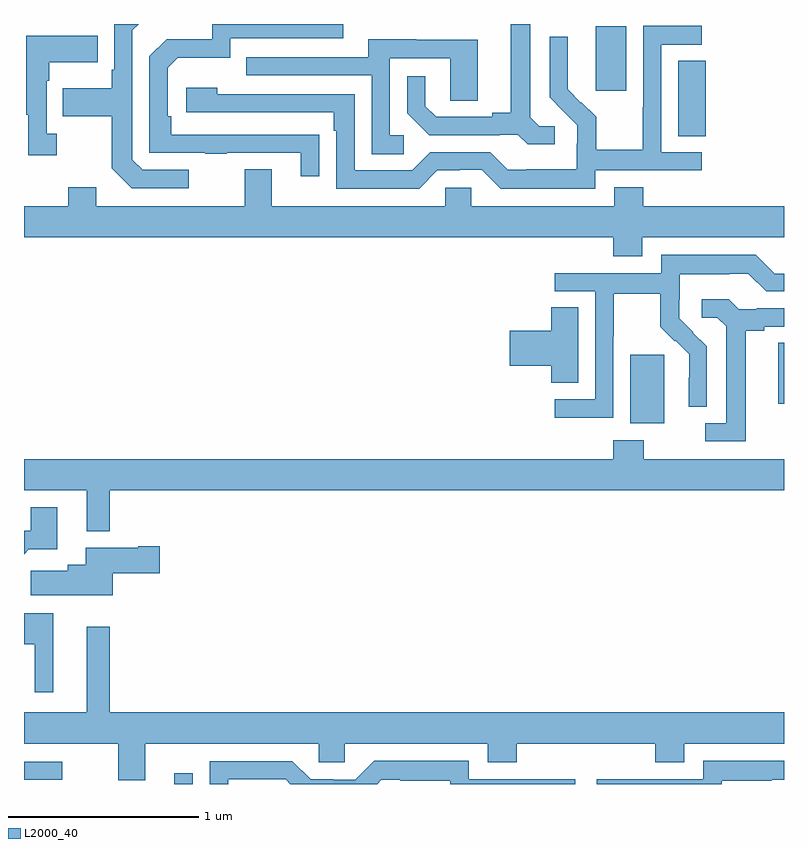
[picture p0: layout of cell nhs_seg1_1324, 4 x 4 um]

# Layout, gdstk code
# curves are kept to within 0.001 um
import gdstk
lib = gdstk.Library(unit=1e-6, precision=1e-09)
def R(c, l, rs):  # rectangles x0, y0, x1, y1
    for r in rs: c.add(gdstk.rectangle(r[:2], r[2:], *l))
def P(c, l, *ps):  # polygons
    for p in ps: c.add(gdstk.Polygon(p, *l))
L2000_40 = (2000, 40)

nhs_seg1_1324 = lib.new_cell('nhs_seg1_1324')
R(nhs_seg1_1324, L2000_40, [(183.791,538.199,183.887,538.255), (183,538.221,183.202,538.317), (186.191,540.098,186.37,540.459), (186.971,540.201,187,540.521), (186.443,541.609,186.587,542.006), (186.008,541.848,186.169,542.188)])
P(nhs_seg1_1324, L2000_40, [(185.794,541.662),(185.712,541.662),(185.665,541.709),(185.665,542.199),(185.561,542.199),(185.561,541.733),(185.465,541.733),(185.465,541.71),(185.17,541.71),(185.113,541.767),(185.113,541.924),(185.016,541.924),(185.016,541.73),(185.132,541.614),(185.504,541.614),(185.504,541.617),(185.598,541.617),(185.65,541.565),(185.794,541.565)],
  [(183.868,541.431),(183.624,541.431),(183.57,541.485),(183.57,542.166),(183.603,542.199),(183.474,542.199),(183.474,541.957),(183.462,541.957),(183.462,541.861),(183.205,541.861),(183.205,541.714),(183.462,541.714),(183.462,541.441),(183.567,541.335),(183.868,541.335)],
  [(184.553,541.616),(183.776,541.617),(183.776,541.714),(183.756,541.714),(183.756,541.968),(183.809,542.021),(184.086,542.021),(184.086,542.124),(184.681,542.124),(184.681,542.199),(183.99,542.199),(183.99,542.118),(183.75,542.118),(183.66,542.028),(183.66,541.521),(183.955,541.521),(183.955,541.516),(184.067,541.516),(184.067,541.521),(184.457,541.521),(184.457,541.398),(184.553,541.398)],
  [(186.006,541.428),(186.568,541.428),(186.568,541.524),(186.354,541.524),(186.354,542.091),(186.568,542.091),(186.568,542.19),(186.258,542.19),(186.258,541.76),(186.256,541.76),(186.256,541.537),(186.011,541.537),(186.011,541.711),(185.934,541.788),(185.931,541.785),(185.861,541.856),(185.861,541.96),(185.863,541.96),(185.863,542.132),(185.766,542.132),(185.766,541.814),(185.912,541.666),(185.912,541.569),(185.91,541.569),(185.91,541.435),(185.647,541.435),(185.647,541.431),(185.547,541.431),(185.454,541.524),(185.139,541.524),(185.043,541.428),(184.74,541.428),(184.74,541.83),(184.016,541.83),(184.016,541.864),(183.855,541.864),(183.855,541.734),(184.631,541.734),(184.631,541.637),(184.644,541.637),(184.644,541.332),(185.079,541.332),(185.175,541.428),(185.294,541.428),(185.294,541.431),(185.409,541.431),(185.509,541.331),(186.006,541.331)],
  [(183.172,541.622),(183.12,541.622),(183.12,541.901),(183.133,541.901),(183.133,541.997),(183.389,541.997),(183.389,542.137),(183.012,542.137),(183.012,541.721),(183.023,541.721),(183.023,541.509),(183.172,541.509)],
  [(184.999,541.614),(184.926,541.614),(184.926,542.019),(185.244,542.019),(185.244,541.795),(185.389,541.795),(185.389,542.115),(185.065,542.115),(185.065,542.119),(184.811,542.119),(184.811,542.025),(184.171,542.025),(184.171,541.929),(184.83,541.929),(184.83,541.513),(184.999,541.513)],
  [(186.253,541.076),(187,541.076),(187,541.24),(186.26,541.24),(186.26,541.339),(186.107,541.339),(186.107,541.24),(185.355,541.24),(185.355,541.338),(185.217,541.338),(185.217,541.24),(184.303,541.24),(184.303,541.435),(184.163,541.435),(184.163,541.24),(183.379,541.24),(183.379,541.339),(183.232,541.339),(183.232,541.24),(183,541.24),(183,541.076),(186.101,541.076),(186.101,540.977),(186.253,540.977)],
  [(186.102,540.556),(186.105,540.556),(186.105,540.78),(186.349,540.78),(186.349,540.605),(186.426,540.528),(186.429,540.531),(186.5,540.461),(186.5,540.338),(186.498,540.338),(186.498,540.184),(186.594,540.184),(186.594,540.502),(186.448,540.65),(186.448,540.747),(186.45,540.747),(186.45,540.881),(186.713,540.881),(186.713,540.885),(186.813,540.885),(186.906,540.792),(187,540.792),(187,540.885),(186.951,540.885),(186.851,540.985),(186.354,540.985),(186.354,540.888),(185.793,540.888),(185.793,540.792),(186.006,540.792),(186.006,540.225),(185.793,540.225),(185.793,540.127),(186.102,540.127)],
  [(186.799,540.584),(186.895,540.584),(186.895,540.606),(187,540.606),(187,540.702),(186.856,540.702),(186.856,540.699),(186.762,540.699),(186.71,540.751),(186.567,540.751),(186.567,540.654),(186.648,540.654),(186.695,540.607),(186.695,540.099),(186.585,540.099),(186.585,540.003),(186.799,540.003)],
  [(185.917,540.707),(185.774,540.707),(185.774,540.584),(185.556,540.584),(185.556,540.401),(185.774,540.401),(185.774,540.31),(185.917,540.31)],
  [(183.451,539.744),(187,539.744),(187,539.908),(186.261,539.908),(186.261,540.007),(186.101,540.007),(186.101,539.908),(183,539.908),(183,539.744),(183.329,539.744),(183.329,539.528),(183.451,539.528)],
  [(183.026,539.435),(183.175,539.435),(183.175,539.656),(183.035,539.656),(183.035,539.533),(183,539.533),(183,539.409)],
  [(183.466,539.309),(183.715,539.309),(183.715,539.451),(183.602,539.451),(183.602,539.443),(183.326,539.443),(183.326,539.353),(183.23,539.353),(183.23,539.321),(183.036,539.321),(183.036,539.192),(183.466,539.192)],
  [(183.154,539.098),(183,539.098),(183,538.934),(183.056,538.934),(183.056,538.683),(183.154,538.683)],
  [(183.637,538.412),(184.551,538.412),(184.551,538.314),(184.689,538.314),(184.689,538.412),(185.441,538.412),(185.441,538.313),(185.594,538.313),(185.594,538.412),(186.323,538.412),(186.323,538.313),(186.475,538.313),(186.475,538.412),(187,538.412),(187,538.576),(183.451,538.576),(183.451,539.026),(183.329,539.026),(183.329,538.576),(183,538.576),(183,538.412),(183.497,538.412),(183.497,538.218),(183.637,538.218)],
  [(184.074,538.224),(184.377,538.224),(184.402,538.199),(184.859,538.199),(184.881,538.221),(184.981,538.221),(184.981,538.217),(185.244,538.217),(185.244,538.199),(185.902,538.199),(185.902,538.224),(185.34,538.224),(185.34,538.321),(184.843,538.321),(184.743,538.221),(184.628,538.221),(184.628,538.224),(184.509,538.224),(184.413,538.32),(183.978,538.32),(183.978,538.199),(184.074,538.199)],
  [(186.672,538.217),(186.935,538.217),(186.935,538.221),(187,538.221),(187,538.321),(186.576,538.321),(186.576,538.224),(186.015,538.224),(186.015,538.199),(186.672,538.199)])

lib.write_gds('nhs_seg1_1324.gds')
